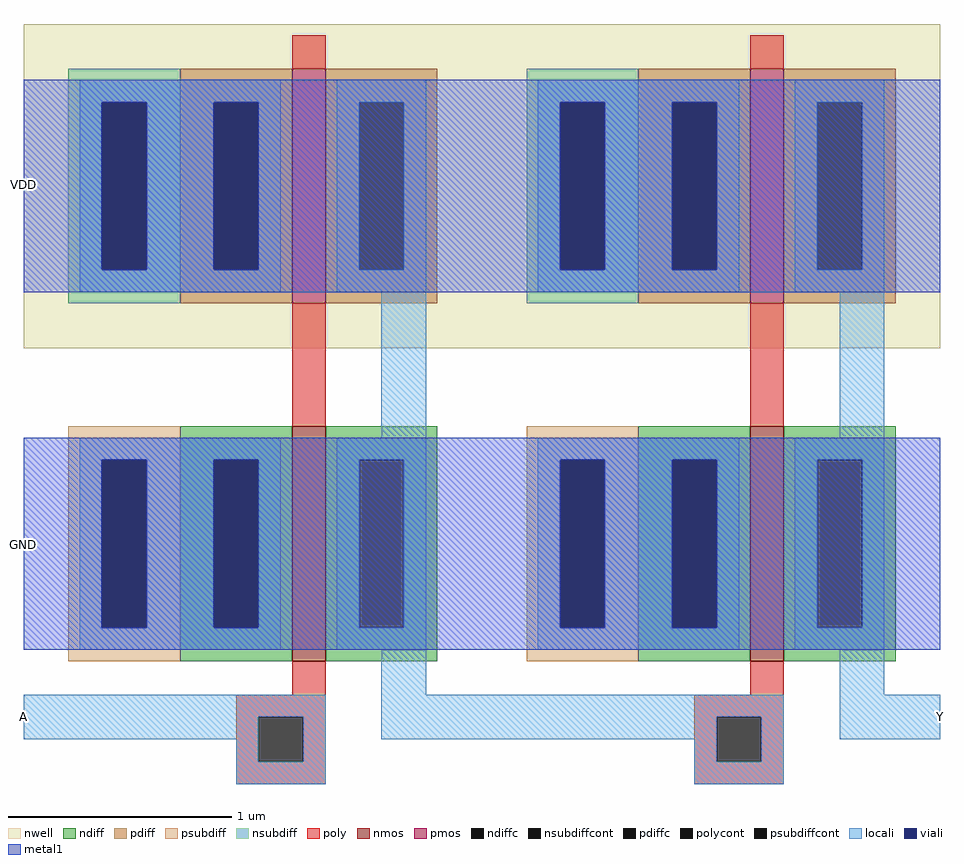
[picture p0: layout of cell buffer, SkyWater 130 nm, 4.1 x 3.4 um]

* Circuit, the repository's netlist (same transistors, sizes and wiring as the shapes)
* NGSPICE file created from buffer.ext - technology: sky130A

.subckt buffer A Y VDD GND
X0 Y a_50_n100# GND GND sky130_fd_pr__nfet_01v8 ad=0.525 pd=3.1 as=0.525 ps=3.1 w=1.05 l=0.15
X1 a_50_n100# A VDD VDD sky130_fd_pr__pfet_01v8 ad=0.525 pd=3.1 as=0.525 ps=3.1 w=1.05 l=0.15
X2 Y a_50_n100# VDD VDD sky130_fd_pr__pfet_01v8 ad=0.525 pd=3.1 as=0.525 ps=3.1 w=1.05 l=0.15
X3 a_50_n100# A GND GND sky130_fd_pr__nfet_01v8 ad=0.525 pd=3.1 as=0.525 ps=3.1 w=1.05 l=0.15
.ends

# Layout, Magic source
magic
tech sky130A
<< nwell >>
rect -110 90 300 235
<< nmos >>
rect 10 -50 25 55
rect 215 -50 230 55
<< pmos >>
rect 10 110 25 215
rect 215 110 230 215
<< ndiff >>
rect -40 40 10 55
rect -40 -35 -25 40
rect -5 -35 10 40
rect -40 -50 10 -35
rect 25 40 75 55
rect 25 -35 40 40
rect 60 -35 75 40
rect 25 -50 75 -35
rect 165 40 215 55
rect 165 -35 180 40
rect 200 -35 215 40
rect 165 -50 215 -35
rect 230 40 280 55
rect 230 -35 245 40
rect 265 -35 280 40
rect 230 -50 280 -35
<< pdiff >>
rect -40 200 10 215
rect -40 125 -25 200
rect -5 125 10 200
rect -40 110 10 125
rect 25 200 75 215
rect 25 125 40 200
rect 60 125 75 200
rect 25 110 75 125
rect 165 200 215 215
rect 165 125 180 200
rect 200 125 215 200
rect 165 110 215 125
rect 230 200 280 215
rect 230 125 245 200
rect 265 125 280 200
rect 230 110 280 125
<< ndiffc >>
rect -25 -35 -5 40
rect 40 -35 60 40
rect 180 -35 200 40
rect 245 -35 265 40
<< pdiffc >>
rect -25 125 -5 200
rect 40 125 60 200
rect 180 125 200 200
rect 245 125 265 200
<< psubdiff >>
rect -90 40 -40 55
rect -90 -35 -75 40
rect -55 -35 -40 40
rect -90 -50 -40 -35
rect 115 40 165 55
rect 115 -35 130 40
rect 150 -35 165 40
rect 115 -50 165 -35
<< nsubdiff >>
rect -90 200 -40 215
rect -90 125 -75 200
rect -55 125 -40 200
rect -90 110 -40 125
rect 115 200 165 215
rect 115 125 130 200
rect 150 125 165 200
rect 115 110 165 125
<< psubdiffcont >>
rect -75 -35 -55 40
rect 130 -35 150 40
<< nsubdiffcont >>
rect -75 125 -55 200
rect 130 125 150 200
<< poly >>
rect 10 215 25 230
rect 215 215 230 230
rect 10 55 25 110
rect 215 55 230 110
rect 10 -65 25 -50
rect 215 -65 230 -50
rect -15 -75 25 -65
rect -15 -95 -5 -75
rect 15 -95 25 -75
rect -15 -105 25 -95
rect 190 -75 230 -65
rect 190 -95 200 -75
rect 220 -95 230 -75
rect 190 -105 230 -95
<< polycont >>
rect -5 -95 15 -75
rect 200 -95 220 -75
<< locali >>
rect -85 200 5 210
rect -85 125 -75 200
rect -55 125 -25 200
rect -5 125 5 200
rect -85 115 5 125
rect 30 200 70 210
rect 30 125 40 200
rect 60 125 70 200
rect 30 115 70 125
rect 120 200 210 210
rect 120 125 130 200
rect 150 125 180 200
rect 200 125 210 200
rect 120 115 210 125
rect 235 200 275 210
rect 235 125 245 200
rect 265 125 275 200
rect 235 115 275 125
rect 50 50 70 115
rect 255 50 275 115
rect -85 40 5 50
rect -85 -35 -75 40
rect -55 -35 -25 40
rect -5 -35 5 40
rect -85 -45 5 -35
rect 30 40 70 50
rect 30 -35 40 40
rect 60 -35 70 40
rect 30 -45 70 -35
rect 120 40 210 50
rect 120 -35 130 40
rect 150 -35 180 40
rect 200 -35 210 40
rect 120 -45 210 -35
rect 235 40 275 50
rect 235 -35 245 40
rect 265 -35 275 40
rect 235 -45 275 -35
rect 50 -65 70 -45
rect 255 -65 275 -45
rect -110 -75 25 -65
rect -110 -85 -5 -75
rect -15 -95 -5 -85
rect 15 -95 25 -75
rect 50 -75 230 -65
rect 50 -85 200 -75
rect -15 -105 25 -95
rect 190 -95 200 -85
rect 220 -95 230 -75
rect 255 -85 300 -65
rect 190 -105 230 -95
<< viali >>
rect -75 125 -55 200
rect -25 125 -5 200
rect 130 125 150 200
rect 180 125 200 200
rect -75 -35 -55 40
rect -25 -35 -5 40
rect 130 -35 150 40
rect 180 -35 200 40
<< metal1 >>
rect -110 200 300 210
rect -110 125 -75 200
rect -55 125 -25 200
rect -5 125 130 200
rect 150 125 180 200
rect 200 125 300 200
rect -110 115 300 125
rect -110 40 300 50
rect -110 -35 -75 40
rect -55 -35 -25 40
rect -5 -35 130 40
rect 150 -35 180 40
rect 200 -35 300 40
rect -110 -45 300 -35
<< labels >>
rlabel locali 300 -75 300 -75 7 Y
port 2 w
rlabel metal1 -110 163 -110 163 3 VDD
port 3 e
rlabel metal1 -110 2 -110 2 3 GND
port 4 e
rlabel locali -110 -75 -110 -75 3 A
port 1 e
<< end >>
